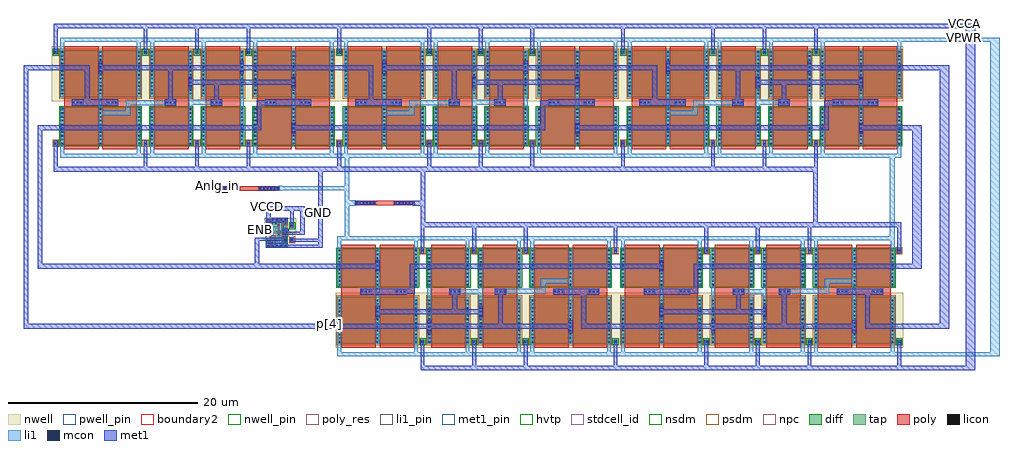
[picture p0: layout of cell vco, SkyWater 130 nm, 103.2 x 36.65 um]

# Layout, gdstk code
from math import pi, radians
import gdstk
lib = gdstk.Library(unit=1e-6, precision=1e-09)
def R(c, l, rs):  # rectangles x0, y0, x1, y1
    for r in rs: c.add(gdstk.rectangle(r[:2], r[2:], *l))
def A(c, l, x, y, w, h, nx, ny, dx, dy):  # array of equal rectangles
    R(c, l, [(x+i*dx, y+j*dy, x+i*dx+w, y+j*dy+h) for i in range(nx) for j in range(ny)])
def P(c, l, *ps):  # polygons
    for p in ps: c.add(gdstk.Polygon(p, *l))
nwell_pin = (64, 16)
nwell = (64, 20)
diff = (65, 20)
tap = (65, 44)
poly_res = (66, 13)
poly = (66, 20)
licon = (66, 44)
li1_pin = (67, 16)
li1 = (67, 20)
mcon = (67, 44)
met1_pin = (68, 16)
met1 = (68, 20)
hvtp = (78, 44)
stdcell_id = (81, 4)
nsdm = (93, 44)
psdm = (94, 20)
npc = (95, 20)
pwell_pin = (122, 16)
boundary2 = (236, 0)

vco_main_inv = lib.new_cell('vco_main_inv')
R(vco_main_inv, nwell, [(-1.3,-0.4,8.3,5.4)])
R(vco_main_inv, diff, [(-0.4,-5.05,8.1,-1.05), (-0.4,0,8.1,5)])
R(vco_main_inv, tap, [(-1.1,-5.1,-0.7,-4.6), (-1.1,4.55,-0.7,5.05)])
R(vco_main_inv, poly, [(0,-5.45,3.65,-0.9), (4.05,-5.45,7.7,-0.9), (0,-0.9,7.7,-0.15), (0,-0.15,3.65,5.4), (4.05,-0.15,7.7,5.4)])
A(vco_main_inv, licon, -0.285, -4.935, 0.17, 0.17, 3, 10, 4.05, 0.4)
A(vco_main_inv, licon, 0.915, -0.635, 0.17, 0.17, 3, 1, 0.4, 0)
A(vco_main_inv, licon, 4.615, -0.635, 0.17, 0.17, 3, 1, 0.4, 0)
A(vco_main_inv, licon, -0.285, 0.315, 0.17, 0.17, 3, 12, 4.05, 0.4)
R(vco_main_inv, licon, [(-0.985,-4.935,-0.815,-4.765), (-0.985,4.715,-0.815,4.885)])
R(vco_main_inv, li1, [(-0.4,-6.35,8.1,-5.95), (-0.4,-5.95,0,-1.05), (7.7,-5.95,8.1,-1.05), (-1.1,-5.1,-0.7,-4.6), (3.65,-5.05,4.05,5), (0.8,-0.85,2,-0.2), (4.5,-0.85,5.7,-0.2), (-0.4,0,0,5.9), (7.7,0,8.1,5.9), (-1.1,4.55,-0.7,5.05), (-0.4,5.9,8.1,6.3)])
A(vco_main_inv, mcon, 0.915, -0.635, 0.17, 0.17, 3, 1, 0.4, 0)
A(vco_main_inv, mcon, 4.615, -0.635, 0.17, 0.17, 3, 1, 0.4, 0)
R(vco_main_inv, mcon, [(-0.985,-4.935,-0.815,-4.765), (-0.985,4.715,-0.815,4.885)])
R(vco_main_inv, met1, [(-1.1,-5.1,-0.7,-4.6), (0.8,-0.85,5.7,-0.2), (-1.1,4.55,-0.7,5.05)])
R(vco_main_inv, nsdm, [(-0.525,-5.175,8.225,-0.925), (-1.225,4.425,-0.575,5.175)])
R(vco_main_inv, psdm, [(-1.225,-5.225,-0.575,-4.475), (-0.525,-0.125,8.225,5.125)])
R(vco_main_inv, npc, [(0.815,-0.735,1.985,-0.365), (4.515,-0.735,5.685,-0.365)])
vco_main_inv.add(gdstk.Label('A', (0.8,-0.55), layer=68, texttype=5))
vco_main_inv.add(gdstk.Label('VPWR', (3.85,6.3), layer=67, texttype=5))
vco_main_inv.add(gdstk.Label('VGND', (3.85,-6.35), layer=67, texttype=5))
vco_main_inv.add(gdstk.Label('Y', (3.85,-5.05), layer=67, texttype=5))
vco_main_inv.add(gdstk.Label('VCCA', (-0.9,5.05), layer=68, texttype=5))
vco_main_inv.add(gdstk.Label('GND', (-0.9,-5.1), layer=68, texttype=5))

vco_aux_inv = lib.new_cell('vco_aux_inv')
R(vco_aux_inv, nwell, [(-1.3,-0.45,4.25,5.35)])
R(vco_aux_inv, diff, [(-0.4,-5.1,4.05,-1.1), (-0.4,-0.05,4.05,4.95)])
R(vco_aux_inv, tap, [(-1.1,-5.15,-0.7,-4.65), (-1.1,4.5,-0.7,5)])
R(vco_aux_inv, poly, [(0,-5.5,3.65,5.35)])
A(vco_aux_inv, licon, -0.285, -4.985, 0.17, 0.17, 1, 10, 0, 0.4)
A(vco_aux_inv, licon, 3.765, -4.985, 0.17, 0.17, 1, 10, 0, 0.4)
A(vco_aux_inv, licon, -0.285, 0.265, 0.17, 0.17, 1, 12, 0, 0.4)
A(vco_aux_inv, licon, 3.765, 0.265, 0.17, 0.17, 1, 12, 0, 0.4)
R(vco_aux_inv, licon, [(-0.985,-4.985,-0.815,-4.815), (-0.985,4.665,-0.815,4.835)])
R(vco_aux_inv, li1, [(-1.1,-5.15,-0.7,-4.65), (-0.4,-5.1,0,-1.1), (3.65,-5.1,4.05,4.95), (-0.4,-0.05,0,4.95), (-1.1,4.5,-0.7,5)])
R(vco_aux_inv, mcon, [(-0.985,-4.985,-0.815,-4.815), (-0.985,4.665,-0.815,4.835)])
R(vco_aux_inv, met1, [(-1.1,-5.15,-0.7,-4.65), (-1.1,4.5,-0.7,5)])
R(vco_aux_inv, nsdm, [(-0.525,-5.225,4.175,-0.975), (-1.225,4.375,-0.575,5.125)])
R(vco_aux_inv, psdm, [(-1.225,-5.275,-0.575,-4.525), (-0.525,-0.175,4.175,5.075)])
vco_aux_inv.add(gdstk.Label('A', (0,-0.6), layer=66, texttype=5))
vco_aux_inv.add(gdstk.Label('VPWR', (-0.2,4.95), layer=67, texttype=5))
vco_aux_inv.add(gdstk.Label('VGND', (-0.2,-5.1), layer=67, texttype=5))
vco_aux_inv.add(gdstk.Label('Y', (4.05,-0.6), layer=67, texttype=5))
vco_aux_inv.add(gdstk.Label('VCCA', (-0.9,5), layer=68, texttype=5))
vco_aux_inv.add(gdstk.Label('GND', (-0.9,-5.15), layer=68, texttype=5))

vco_cc_inv = lib.new_cell('vco_cc_inv')
R(vco_cc_inv, nwell, [(24.15,7.85,24.35,8.05), (24.15,8.25,24.35,8.45), (16.45,9.05,18.65,10.25), (-0.45,9.25,1.3,9.75), (19,9.25,19.05,9.75), (3.75,9.85,3.95,10.05)])
A(vco_cc_inv, poly, 10.75, 5.7, 0.2, 0.2, 3, 1, 0.4, 0)
A(vco_cc_inv, poly, 15.6, 5.7, 0.2, 0.2, 3, 1, 0.4, 0)
A(vco_cc_inv, licon, 10.765, 5.715, 0.17, 0.17, 3, 1, 0.4, 0)
A(vco_cc_inv, licon, 15.615, 5.715, 0.17, 0.17, 3, 1, 0.4, 0)
A(vco_cc_inv, li1, 24.15, 2.6, 0.2, 0.2, 1, 3, 0, 0.4)
A(vco_cc_inv, li1, 13.25, 7.45, 0.2, 0.2, 1, 3, 0, 0.4)
A(vco_cc_inv, li1, 24.15, 7.45, 0.2, 0.2, 1, 3, 0, 0.4)
A(vco_cc_inv, li1, 3.75, 9.05, 0.2, 0.2, 1, 3, 0, 0.4)
A(vco_cc_inv, li1, 18.7, 9.05, 0.2, 0.2, 1, 3, 0, 0.4)
R(vco_cc_inv, li1, [(8.1,0,20,0.4), (9.1,0.4,9.5,1.3), (14.55,0.4,14.95,1.3), (4.05,4.45,7,4.95), (6.5,4.95,7,5.55), (10.65,5.5,11.85,5.55), (15.5,5.5,16.7,5.6), (6.5,5.55,11.85,6.05), (13.55,5.6,16.7,6.1), (10.65,6.05,11.85,6.15), (15.5,6.1,16.7,6.15), (9.1,11.35,9.5,12.25), (14.55,11.35,14.95,12.25), (8.05,12.25,20.95,12.65)])
A(vco_cc_inv, mcon, 24.165, 2.615, 0.17, 0.17, 1, 3, 0, 0.4)
A(vco_cc_inv, mcon, 10.765, 5.715, 0.17, 0.17, 3, 1, 0.4, 0)
A(vco_cc_inv, mcon, 15.615, 5.715, 0.17, 0.17, 3, 1, 0.4, 0)
A(vco_cc_inv, mcon, 13.265, 7.465, 0.17, 0.17, 1, 3, 0, 0.4)
A(vco_cc_inv, mcon, 24.165, 7.465, 0.17, 0.17, 1, 3, 0, 0.4)
A(vco_cc_inv, mcon, 3.765, 9.065, 0.17, 0.17, 1, 3, 0, 0.4)
A(vco_cc_inv, mcon, 18.715, 9.065, 0.17, 0.17, 1, 3, 0, 0.4)
A(vco_cc_inv, met1, 8.4, -1, 0.4, 2.25, 3, 2, 5.45, 12.4)
R(vco_cc_inv, met1, [(-1.1,-1.5,19.7,-1), (-1.1,-1,-0.7,1.25), (24.05,2.5,24.45,2.9), (-1.3,2.9,20.85,3.4), (24.05,2.9,28.7,3.4), (20.35,3.4,20.85,5.55), (24.05,3.4,24.45,3.7), (10.65,5.5,11.85,6.15), (15.5,5.5,16.7,6.15), (20.35,5.55,21.2,6.05), (2.2,6.15,2.7,9.25), (11,6.15,11.5,9.25), (15.85,6.15,16.35,7.7), (13.15,7.35,13.55,7.7), (24.05,7.35,24.45,7.7), (13.15,7.7,24.45,8.2), (13.15,8.2,13.55,8.55), (24.05,8.2,24.45,8.55), (3.65,8.85,4.05,9.25), (18.6,8.85,19,9.25), (-1.3,9.25,2.7,9.75), (3.65,9.25,28.7,9.75), (3.65,9.75,4.05,10.25), (18.6,9.75,19,10.25), (-1.1,11.4,-0.7,13.65), (-1.1,13.65,19.7,14.15)])
R(vco_cc_inv, npc, [(10.665,5.615,11.835,5.985), (15.515,5.615,16.685,5.985)])
vco_cc_inv.add(gdstk.Reference(vco_main_inv, (20.4,6.35)))
vco_cc_inv.add(gdstk.Reference(vco_main_inv, (0,6.35)))
vco_cc_inv.add(gdstk.Reference(vco_aux_inv, (14.95,6.4)))
vco_cc_inv.add(gdstk.Reference(vco_aux_inv, (9.5,6.4)))
vco_cc_inv.add(gdstk.Label('inp', (-1.3,9.5), layer=68, texttype=5))
vco_cc_inv.add(gdstk.Label('inn', (-1.3,3.1), layer=68, texttype=5))
vco_cc_inv.add(gdstk.Label('VPWR', (14.15,12.65), layer=67, texttype=5))
vco_cc_inv.add(gdstk.Label('VGND', (14.15,0), layer=67, texttype=5))
vco_cc_inv.add(gdstk.Label('outp', (28.7,9.5), layer=68, texttype=5))
vco_cc_inv.add(gdstk.Label('outn', (28.7,3.1), layer=68, texttype=5))
vco_cc_inv.add(gdstk.Label('VCCA', (-0.9,14.15), layer=68, texttype=5))
vco_cc_inv.add(gdstk.Label('GND', (-0.95,-1.5), layer=68, texttype=5))

vco_ring_osc = lib.new_cell('vco_ring_osc')
R(vco_ring_osc, li1, [(59.1,-19.5,60.2,-19.1), (88.25,-19.5,100.2,-19.1), (99.2,-19.1,100.2,13.75), (59.1,-7.25,60.2,-6.85), (88.6,-6.95,89.1,1.8), (30.95,-6.9,31.45,1.7), (29.8,1.5,30.9,1.9), (59.8,1.5,60.9,1.9), (29.8,13.75,30.9,14.15), (59.8,13.75,60.9,14.15), (88.8,13.75,100.2,14.15)])
R(vco_ring_osc, met1, [(58.75,-21,69.25,-20.5), (88.75,-21,97.65,-20.5), (96.65,-20.5,97.65,15.15), (-3,-16.6,30,-16.1), (59.1,-16.6,60.2,-16.1), (90,-16.6,94.9,-16.1), (-3,-16.1,-2.5,10.75), (93.9,-16.1,94.9,10.75), (-1.5,-10.25,30,-9.75), (59.1,-10.25,60.2,-9.75), (90,-10.25,92,-9.75), (-1.5,-9.75,-1,4.4), (91,-9.75,92,4.4), (59.3,-5.85,69.55,-5.35), (80.5,-5.7,81,0.5), (39,-5.4,39.5,0.25), (20.25,0,30.5,0.5), (50.35,0,60.45,0.5), (-1.5,4.4,0,4.9), (29.8,4.4,30.9,4.9), (59.8,4.4,60.9,4.9), (90,4.4,92,4.9), (-3,10.75,0,11.25), (29.8,10.75,30.9,11.25), (59.8,10.75,60.9,11.25), (90,10.75,94.9,11.25), (0.2,15.15,1.2,15.65), (19.55,15.15,30.55,15.65), (49.35,15.15,61.1,15.65), (80.05,15.15,97.65,15.65)])
vco_ring_osc.add(gdstk.Reference(vco_cc_inv, (88.7,-6.85), rotation=pi))
vco_ring_osc.add(gdstk.Reference(vco_cc_inv, (58.7,-6.85), rotation=pi))
vco_ring_osc.add(gdstk.Reference(vco_cc_inv, (61.3,1.5)))
vco_ring_osc.add(gdstk.Reference(vco_cc_inv, (31.3,1.5)))
vco_ring_osc.add(gdstk.Reference(vco_cc_inv, (1.3,1.5)))
vco_ring_osc.add(gdstk.Label('VGND', (30.95,-2.55), layer=67, texttype=5))
vco_ring_osc.add(gdstk.Label('VPWR', (29.9,14.15), layer=67, texttype=5))
vco_ring_osc.add(gdstk.Label('p[0]', (30.4,11.25), layer=68, texttype=5))
vco_ring_osc.add(gdstk.Label('p[1]', (60.35,11.25), layer=68, texttype=5))
vco_ring_osc.add(gdstk.Label('p[2]', (91.25,11.25), layer=68, texttype=5))
vco_ring_osc.add(gdstk.Label('p[3]', (59.65,-16.1), layer=68, texttype=5))
vco_ring_osc.add(gdstk.Label('p[4]', (29.45,-16.1), layer=68, texttype=5))
vco_ring_osc.add(gdstk.Label('pn[0]', (30.35,4.9), layer=68, texttype=5))
vco_ring_osc.add(gdstk.Label('pn[1]', (60.35,4.9), layer=68, texttype=5))
vco_ring_osc.add(gdstk.Label('pn[2]', (90.95,4.9), layer=68, texttype=5))
vco_ring_osc.add(gdstk.Label('pn[3]', (59.6,-9.75), layer=68, texttype=5))
vco_ring_osc.add(gdstk.Label('pn[4]', (29.4,-9.75), layer=68, texttype=5))
vco_ring_osc.add(gdstk.Label('VCCA', (0.3,15.65), layer=68, texttype=5))
vco_ring_osc.add(gdstk.Label('GND', (39.5,-5), layer=68, texttype=5))

sky130_fd_sc_hd__einvp_1 = lib.new_cell('sky130_fd_sc_hd__einvp_1')
R(sky130_fd_sc_hd__einvp_1, nwell_pin, [(0.15,2.635,0.32,2.805)])
R(sky130_fd_sc_hd__einvp_1, nwell, [(-0.19,1.305,2.49,2.91)])
P(sky130_fd_sc_hd__einvp_1, diff, [(2.165,0.885),(0.62,0.885),(0.62,0.655),(0.135,0.655),(0.135,0.235),(2.165,0.235)],
  [(2.165,2.485),(0.135,2.485),(0.135,2.065),(0.62,2.065),(0.62,1.485),(2.165,1.485)])
R(sky130_fd_sc_hd__einvp_1, poly, [(0.11,1.015,0.395,1.025), (0.11,1.295,0.395,1.305)])
P(sky130_fd_sc_hd__einvp_1, poly, [(1.5,1.325),(1.38,1.325),(1.38,2.615),(1.23,2.615),(1.23,0.995),(1.5,0.995)],
  [(2.195,1.325),(1.895,1.325),(1.895,2.615),(1.745,2.615),(1.745,0.105),(1.895,0.105),(1.895,0.995),(2.195,0.995)],
  [(1.02,1.11),(0.545,1.11),(0.545,2.615),(0.395,2.615),(0.395,1.295),(0.11,1.295),(0.11,1.025),(0.395,1.025),(0.395,0.105),(0.545,0.105),(0.545,0.96),(0.87,0.96),(0.87,0.105),(1.02,0.105)])
R(sky130_fd_sc_hd__einvp_1, licon, [(0.595,0.275,0.765,0.445), (1.945,0.295,2.115,0.465), (0.175,0.36,0.345,0.53), (1.945,0.635,2.115,0.805), (0.19,1.075,0.36,1.245), (1.28,1.075,1.45,1.245), (1.975,1.075,2.145,1.245), (0.175,2.19,0.345,2.36), (1.955,2.215,2.125,2.385), (0.605,2.27,0.775,2.44), (0.945,2.27,1.115,2.44)])
A(sky130_fd_sc_hd__einvp_1, li1_pin, 1.99, 1.445, 0.17, 0.17, 1, 3, 0, 0.34)
R(sky130_fd_sc_hd__einvp_1, li1_pin, [(1.99,0.425,2.16,0.595), (0.15,1.105,0.32,1.275), (1.985,1.105,2.155,1.275), (0.15,1.445,0.32,1.615)])
R(sky130_fd_sc_hd__einvp_1, li1, [(1.975,0.975,2.215,1.955), (0.085,0.995,0.545,1.725)])
P(sky130_fd_sc_hd__einvp_1, li1, [(2.215,0.805),(1.795,0.805),(1.795,2.125),(2.215,2.125),(2.215,2.465),(1.62,2.465),(1.62,0.255),(2.215,0.255)],
  [(2.3,2.805),(0,2.805),(0,2.635),(0.515,2.635),(0.515,2.235),(1.45,2.235),(1.45,2.635),(2.3,2.635)],
  [(1.45,2.065),(0.345,2.065),(0.345,2.465),(0.085,2.465),(0.085,1.895),(0.715,1.895),(0.715,0.825),(0.085,0.825),(0.085,0.255),(0.345,0.255),(0.345,0.655),(1.45,0.655)],
  [(2.3,0.085),(1.45,0.085),(1.45,0.485),(0.515,0.485),(0.515,0.085),(0,0.085),(0,-0.085),(2.3,-0.085)])
A(sky130_fd_sc_hd__einvp_1, mcon, 0.145, -0.085, 0.17, 0.17, 5, 2, 0.46, 2.72)
R(sky130_fd_sc_hd__einvp_1, met1_pin, [(0.15,-0.085,0.32,0.085), (0.15,2.635,0.32,2.805)])
R(sky130_fd_sc_hd__einvp_1, hvtp, [(0,1.25,2.3,2.72)])
R(sky130_fd_sc_hd__einvp_1, stdcell_id, [(0,0,2.3,2.72)])
R(sky130_fd_sc_hd__einvp_1, nsdm, [(0,-0.19,2.3,1.015)])
R(sky130_fd_sc_hd__einvp_1, psdm, [(0,1.355,2.3,2.91)])
R(sky130_fd_sc_hd__einvp_1, npc, [(0,0.975,2.3,1.345)])
R(sky130_fd_sc_hd__einvp_1, pwell_pin, [(0.15,-0.085,0.32,0.085)])
R(sky130_fd_sc_hd__einvp_1, boundary2, [(0,0,2.3,2.72)])
sky130_fd_sc_hd__einvp_1.add(gdstk.FlexPath([(0,2.72),(2.3,2.72)], 0.48, ends="flush", simple_path=True, layer=68, datatype=20))  # met1
sky130_fd_sc_hd__einvp_1.add(gdstk.FlexPath([(0,0),(2.3,0)], 0.48, ends="flush", simple_path=True, layer=68, datatype=20))  # met1
sky130_fd_sc_hd__einvp_1.add(gdstk.Label('TE', (0.235,1.19), layer=67, texttype=5))
sky130_fd_sc_hd__einvp_1.add(gdstk.Label('TE', (0.235,1.53), layer=67, texttype=5))
sky130_fd_sc_hd__einvp_1.add(gdstk.Label('A', (2.07,1.19), layer=67, texttype=5))
sky130_fd_sc_hd__einvp_1.add(gdstk.Label('A', (2.075,1.87), layer=67, texttype=5))
sky130_fd_sc_hd__einvp_1.add(gdstk.Label('A', (2.075,1.53), layer=67, texttype=5))
sky130_fd_sc_hd__einvp_1.add(gdstk.Label('Z', (2.075,2.21), layer=67, texttype=5))
sky130_fd_sc_hd__einvp_1.add(gdstk.Label('Z', (2.075,0.51), layer=67, texttype=5))
sky130_fd_sc_hd__einvp_1.add(gdstk.Label('VPWR', (0.23,2.72), layer=68, texttype=5))
sky130_fd_sc_hd__einvp_1.add(gdstk.Label('VGND', (0.23,0), layer=68, texttype=5))
sky130_fd_sc_hd__einvp_1.add(gdstk.Label('VPB', (0.235,2.72), layer=64, texttype=5))
sky130_fd_sc_hd__einvp_1.add(gdstk.Label('VNB', (0.235,0), layer=64, texttype=59))
sky130_fd_sc_hd__einvp_1.add(gdstk.Label('einvp_1', (0,0), layer=83, texttype=44))

sky130_fd_pr__res_generi = lib.new_cell('sky130_fd_pr__res_generic_po_DKCPUZ')
R(sky130_fd_pr__res_generi, poly_res, [(-0.24,-1,0.24,1)])
R(sky130_fd_pr__res_generi, poly, [(-0.24,-3.15,0.24,3.15)])
R(sky130_fd_pr__res_generi, licon, [(-0.085,-3.07,0.085,-2.9), (-0.085,2.9,0.085,3.07)])
R(sky130_fd_pr__res_generi, li1, [(-0.24,-3.07,0.24,-2.9), (-0.16,-2.9,0.16,-1.085), (-0.16,1.085,0.16,2.9), (-0.24,2.9,0.24,3.07)])
A(sky130_fd_pr__res_generi, mcon, -0.085, -3.065, 0.17, 0.17, 1, 6, 0, 0.36)
A(sky130_fd_pr__res_generi, mcon, -0.085, 1.09, 0.17, 0.17, 1, 6, 0, 0.36)
R(sky130_fd_pr__res_generi, met1, [(-0.19,-3.13,0.19,-1.025), (-0.19,1.025,0.19,3.13)])
R(sky130_fd_pr__res_generi, npc, [(-0.185,-3.17,0.185,-2.8), (-0.185,2.8,0.185,3.17)])

vco = lib.new_cell('vco')
R(vco, nwell, [(27.65,14.5,28.85,16.1)])
R(vco, tap, [(28.2,13.55,28.6,14.05), (28.2,15.05,28.6,15.55)])
R(vco, licon, [(28.315,13.715,28.485,13.885), (28.315,15.215,28.485,15.385)])
R(vco, li1, [(28.2,13.55,28.6,14.05), (27.55,13.7,27.72,13.87), (27.8,14.35,28.05,14.55), (24.95,14.55,25.75,14.85), (27.7,14.55,28.05,14.75), (27.8,14.75,28.05,14.85), (28.2,15.05,28.6,15.55), (34.25,17.4,35.2,18), (26.95,19,27.35,19.05), (26.95,19.05,34.25,19.45), (26.95,19.45,27.35,19.5), (3.9,34.75,8.3,35.15), (97.05,34.75,99.65,34.85), (97.05,34.85,97.2,35.05), (97.4,34.85,99.65,35.05), (97.05,35.05,99.65,35.15)])
R(vco, mcon, [(27.55,13.7,27.72,13.87), (28.315,13.715,28.485,13.885), (27.715,14.565,27.885,14.735), (28.315,15.215,28.485,15.385)])
R(vco, met1, [(42,0,43.5,0.5), (29.7,4.4,33.2,4.9), (31.55,10.75,33,11), (24.45,11.15,24.95,13.7), (27.85,12.95,31.65,13.25), (31.15,13.25,31.65,13.6), (28.2,13.55,28.6,13.6), (28.2,13.6,31.65,13.9), (27.4,13.65,27.85,13.7), (24.45,13.7,27.85,14), (28.2,13.9,28.6,14.05), (31.15,13.9,31.65,21), (27.4,14,27.85,14.1), (27.45,14.35,29.75,14.65), (27.45,14.65,28.05,14.95), (29.25,14.65,29.75,16.85), (28.2,15.05,28.6,16.85), (25.65,16.15,26.15,16.85), (25.55,16.85,29.75,17.35), (41.15,17.4,42.05,17.95), (20.45,18.95,20.85,19.5), (3.2,36.15,5.8,36.65), (96.55,36.15,99.65,36.65)])
R(vco, nsdm, [(28.075,14.925,28.725,15.675)])
R(vco, psdm, [(28.075,13.425,28.725,14.17), (27.93,14.17,28.725,14.175), (27.93,14.175,28.455,14.2), (27.55,14.2,28.455,14.55), (27.93,14.55,28.455,14.555)])
vco.add(gdstk.Reference(vco_ring_osc, (3,21)))
vco.add(gdstk.Reference(sky130_fd_sc_hd__einvp_1, (25.64,13.19)))
vco.add(gdstk.Reference(sky130_fd_pr__res_generi, (38.2,17.69), rotation=pi/2))
vco.add(gdstk.Reference(sky130_fd_pr__res_generi, (23.9,19.24), rotation=pi/2))
vco.add(gdstk.Label('VCCD', (25.8,17.35), layer=68, texttype=5))
vco.add(gdstk.Label('ENB', (25.1,14.85), layer=67, texttype=5))
vco.add(gdstk.Label('p[4]', (32.35,4.9), layer=68, texttype=5))
vco.add(gdstk.Label('Anlg_in', (20.5,19.5), layer=68, texttype=5))
vco.add(gdstk.Label('VCCA', (99.5,36.65), layer=68, texttype=5))
vco.add(gdstk.Label('VPWR', (99.5,35.15), layer=67, texttype=5))
vco.add(gdstk.Label('GND', (31.15,16.7), layer=68, texttype=5))

lib.write_gds('vco.gds')
